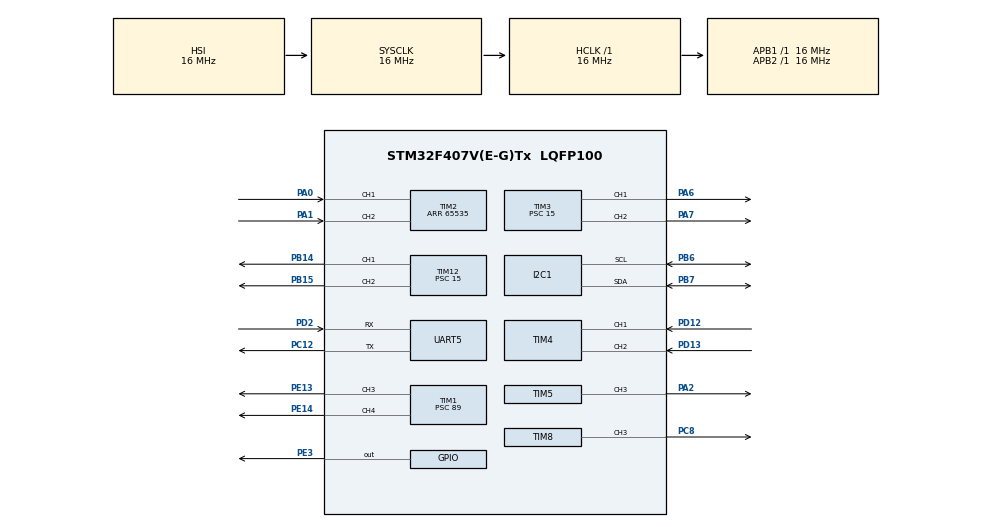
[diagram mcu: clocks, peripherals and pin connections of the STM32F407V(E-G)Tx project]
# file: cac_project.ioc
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Mcu.Family=STM32F4
Mcu.Name=STM32F407V(E-G)Tx
Mcu.Package=LQFP100
NVIC.FLASH_IRQn=true\:0\:0\:false\:false\:true\:true\:true\:true
NVIC.FPU_IRQn=true\:0\:0\:false\:false\:true\:true\:false\:true
NVIC.I2C1_ER_IRQn=true\:0\:0\:false\:false\:true\:true\:true\:true
NVIC.I2C1_EV_IRQn=true\:0\:0\:false\:false\:true\:true\:true\:true
NVIC.PVD_IRQn=true\:0\:0\:false\:false\:true\:true\:true\:true
NVIC.PriorityGroup=NVIC_PRIORITYGROUP_4
NVIC.RCC_IRQn=true\:0\:0\:false\:false\:true\:true\:false\:true
NVIC.TIM1_BRK_TIM9_IRQn=true\:0\:0\:false\:false\:true\:true\:true\:true
NVIC.TIM1_CC_IRQn=true\:0\:0\:false\:false\:true\:true\:true\:true
NVIC.TIM1_TRG_COM_TIM11_IRQn=true\:0\:0\:false\:false\:true\:true\:true\:true
NVIC.TIM1_UP_TIM10_IRQn=true\:0\:0\:false\:false\:true\:true\:true\:true
NVIC.TIM2_IRQn=true\:0\:0\:false\:false\:true\:true\:true\:true
NVIC.TIM3_IRQn=true\:0\:0\:false\:false\:true\:true\:true\:true
NVIC.TIM4_IRQn=true\:0\:0\:false\:false\:true\:true\:true\:true
NVIC.TIM5_IRQn=true\:0\:0\:false\:false\:true\:true\:true\:true
NVIC.TIM8_BRK_TIM12_IRQn=true\:0\:0\:false\:false\:true\:true\:true\:true
NVIC.TIM8_CC_IRQn=true\:0\:0\:false\:false\:true\:true\:true\:true
NVIC.TIM8_TRG_COM_TIM14_IRQn=true\:0\:0\:false\:false\:true\:true\:true\:true
NVIC.TIM8_UP_TIM13_IRQn=true\:0\:0\:false\:false\:true\:true\:true\:true
NVIC.UART5_IRQn=true\:0\:0\:false\:false\:true\:true\:true\:true
PA0-WKUP.Signal=S_TIM2_CH1_ETR
PA1.Signal=S_TIM2_CH2
PA13.Mode=Serial_Wire
PA13.Signal=SYS_JTMS-SWDIO
PA14.Mode=Serial_Wire
PA14.Signal=SYS_JTCK-SWCLK
PA2.Signal=S_TIM5_CH3
PA6.Signal=S_TIM3_CH1
PA7.Signal=S_TIM3_CH2
PB14.Signal=S_TIM12_CH1
PB15.Signal=S_TIM12_CH2
PB6.Mode=I2C
PB6.Signal=I2C1_SCL
PB7.Mode=I2C
PB7.Signal=I2C1_SDA
PC12.Mode=Asynchronous
PC12.Signal=UART5_TX
PC8.Signal=S_TIM8_CH3
PD12.Signal=S_TIM4_CH1
PD13.Signal=S_TIM4_CH2
PD2.Mode=Asynchronous
PD2.Signal=UART5_RX
PE13.Signal=S_TIM1_CH3
PE14.Signal=S_TIM1_CH4
PE3.Signal=GPIO_Output
ProjectManager.HeapSize=0x200
ProjectManager.StackSize=0x400
ProjectManager.TargetToolchain=STM32CubeIDE
RCC.AHBFreq_Value=16000000
RCC.APB1Freq_Value=16000000
RCC.APB2Freq_Value=16000000
RCC.CortexFreq_Value=16000000
RCC.HSE_VALUE=25000000
RCC.HSI_VALUE=16000000
RCC.LSE_VALUE=32768
RCC.SYSCLKFreq_VALUE=16000000
RCC.VCOOutputFreq_Value=192000000
SH.S_TIM12_CH1.0=TIM12_CH1,PWM Generation1 CH1
SH.S_TIM12_CH2.0=TIM12_CH2,PWM Generation2 CH2
SH.S_TIM1_CH3.0=TIM1_CH3,PWM Generation3 CH3
SH.S_TIM1_CH4.0=TIM1_CH4,PWM Generation4 CH4
SH.S_TIM2_CH1_ETR.0=TIM2_CH1,Encoder_Interface
SH.S_TIM2_CH2.0=TIM2_CH2,Encoder_Interface
SH.S_TIM3_CH1.0=TIM3_CH1,PWM Generation1 CH1
SH.S_TIM3_CH2.0=TIM3_CH2,PWM Generation2 CH2
SH.S_TIM4_CH1.0=TIM4_CH1,Encoder_Interface
SH.S_TIM4_CH2.0=TIM4_CH2,Encoder_Interface
SH.S_TIM5_CH3.0=TIM5_CH3,PWM Generation3 CH3
SH.S_TIM8_CH3.0=TIM8_CH3,PWM Generation3 CH3
TIM1.Channel-PWM\ Generation3\ CH3=TIM_CHANNEL_3
TIM1.Channel-PWM\ Generation4\ CH4=TIM_CHANNEL_4
TIM1.Period=999
TIM1.Prescaler=89
TIM12.Channel-PWM\ Generation1\ CH1=TIM_CHANNEL_1
TIM12.Channel-PWM\ Generation2\ CH2=TIM_CHANNEL_2
TIM12.Period=19999
TIM12.Prescaler=15
TIM2.EncoderMode=TIM_ENCODERMODE_TI12
TIM2.Period=65535
TIM3.Channel-PWM\ Generation1\ CH1=TIM_CHANNEL_1
TIM3.Channel-PWM\ Generation2\ CH2=TIM_CHANNEL_2
TIM3.Period=19999
TIM3.Prescaler=15
TIM4.EncoderMode=TIM_ENCODERMODE_TI12
TIM5.Channel-PWM\ Generation3\ CH3=TIM_CHANNEL_3
TIM5.Period=999
TIM5.Prescaler=89
TIM8.Channel-PWM\ Generation3\ CH3=TIM_CHANNEL_3
TIM8.Period=999
TIM8.Prescaler=89
UART5.VirtualMode=Asynchronous
VP_TIM12_VS_ClockSourceINT.Mode=Internal
VP_TIM1_VS_ClockSourceINT.Mode=Internal
VP_TIM3_VS_ClockSourceINT.Mode=Internal
VP_TIM5_VS_ClockSourceINT.Mode=Internal
VP_TIM8_VS_ClockSourceINT.Mode=Internal
board=custom

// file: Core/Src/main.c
/* USER CODE BEGIN Header */
/**
  ******************************************************************************
  * @file           : main.c
  * @brief          : Rover top level - peripheral init, module init, scheduling
  *
  * main.c only wires the modules together. Each feature lives in its own module:
  *
  *   encoder.c/.h   - wheel encoders (TIM2 / TIM4) and RPM calculation
  *   motor.c/.h     - motor PWM (TIM1 / TIM5 / TIM8) and direction
  *   servo.c/.h     - servos (TIM3 / TIM9)
  *   pid.c/.h       - closed-loop RPM control, target RPMs
  *   uart_comm.c/.h - UART5 commands from / RPM telemetry to the Raspberry Pi
  *
  * Also here: PE3 heartbeat LED and the MPU6050 polling loop.
  *
  * UART commands (115200 baud):
  *     VEL,left_RPM,right_RPM      S12:angle      S34:angle
  ******************************************************************************
  */
/* USER CODE END Header */
#include "main.h"

/* USER CODE BEGIN Includes */
#include <stdbool.h>
#include <stdint.h>

#include "encoder.h"
#include "motor.h"
#include "servo.h"
#include "pid.h"
#include "uart.h"
#include "mpu6050.h"
/* USER CODE END Includes */

/* USER CODE BEGIN PD */
#define LED_PORT                 GPIOE
#define LED_PIN                  GPIO_PIN_3
#define LED_TOGGLE_PERIOD_MS     500U
#define IMU_SEND_PERIOD_MS       100U
#define IMU_SAMPLE_PERIOD_MS     10U
#define IMU_MAX_READ_FAILS       5U      /* consecutive failed reads before the IMU is switched off */
#define IMU_RETRY_PERIOD_MS      0U      /* 0 = never retry; otherwise retry init every N ms        */
                                         /* (each retry can block ~300 ms if the IMU is absent)     */
/* USER CODE END PD */

I2C_HandleTypeDef hi2c1;

TIM_HandleTypeDef htim1;
TIM_HandleTypeDef htim2;
TIM_HandleTypeDef htim3;
TIM_HandleTypeDef htim4;
TIM_HandleTypeDef htim5;
TIM_HandleTypeDef htim8;
TIM_HandleTypeDef htim12;

UART_HandleTypeDef huart5;

/* USER CODE BEGIN PV */
/* Timestamps of the periodic tasks (HAL_GetTick() values, ms) */
static uint32_t last_led_toggle     = 0;
static uint32_t last_encoder_update = 0;
static uint32_t last_pid_update     = 0;
static uint32_t last_imu_send       = 0;
static uint32_t last_imu_sample     = 0;
static uint32_t last_imu_retry      = 0;

/* =========================================================
 * MPU6050 STATE
 * ========================================================= */

/* IMU health */
static volatile bool imu_ok = false;
static volatile uint8_t imu_fail_count = 0;
static volatile HAL_StatusTypeDef imu_init_status;
static volatile HAL_StatusTypeDef imu_who_status;
static volatile uint8_t imu_who_am_i = 0;
static MPU6050_Data imu_latest;

static volatile float ax;
static volatile float ay;
static volatile float az;
static volatile float gx;
static volatile float gy;
static volatile float gz;

/* USER CODE END PV */

void SystemClock_Config(void);
static void MX_GPIO_Init(void);
static void MX_I2C1_Init(void);
static void MX_TIM2_Init(void);
static void MX_TIM4_Init(void);
static void MX_UART5_Init(void);
static void MX_TIM1_Init(void);
static void MX_TIM3_Init(void);
static void MX_TIM5_Init(void);
static void MX_TIM8_Init(void);
static void MX_TIM12_Init(void);
/* USER CODE BEGIN PFP */
static bool Period_Elapsed(uint32_t now, uint32_t *last_ms, uint32_t period_ms);
static void IMU_Poll(uint32_t now);
/* USER CODE END PFP */

int main(void)
{

  /* MCU Configuration--------------------------------------------------------*/

  /* Reset of all peripherals, Initializes the Flash interface and the Systick. */
  HAL_Init();

  /* Configure the system clock */
  SystemClock_Config();

  /* Initialize all configured peripherals */
  MX_GPIO_Init();
  MX_I2C1_Init();
  MX_TIM2_Init();
  MX_TIM4_Init();
  MX_UART5_Init();
  MX_TIM1_Init();
  MX_TIM3_Init();
  MX_TIM5_Init();
  MX_TIM8_Init();
  MX_TIM12_Init();
  /* USER CODE BEGIN 2 */

  Encoder_Init(&htim2, &htim4);
  Motor_Init(&htim1, &htim5, &htim8);
  Servo_Init(&htim3, &htim12);
  PID_Init();

  if (UART_Comm_Init(&huart5) != HAL_OK)
  {
      Motor_Set_Speeds(0, 0);
      Error_Handler();
  }

  imu_init_status = mpu6050_init();

  imu_fail_count = 0;

  if (imu_init_status == HAL_OK)
  {
      imu_who_status = mpu6050_who_am_i((uint8_t *)&imu_who_am_i);

      if ((imu_who_status == HAL_OK) &&
          (imu_who_am_i == 0x68))
      {
          imu_ok = true;
      }
      else
      {
          imu_ok = false;
      }
  }
  else
  {
      imu_ok = false;
  }

  last_led_toggle     = HAL_GetTick();
  last_encoder_update = HAL_GetTick();
  last_pid_update     = HAL_GetTick();
  last_imu_send       = HAL_GetTick();
  last_imu_sample     = HAL_GetTick();
  last_imu_retry      = HAL_GetTick();

  /* USER CODE END 2 */

  /* Infinite loop */
  /* USER CODE BEGIN WHILE */
  while (1)
  {
      uint32_t now = HAL_GetTick();

      /* PE3 heartbeat*/
      if (Period_Elapsed(now, &last_led_toggle, LED_TOGGLE_PERIOD_MS))
      {
          HAL_GPIO_TogglePin(LED_PORT, LED_PIN);
      }

      /* Encoder RPM + telemetry to the Raspberry Pi */
      if (Period_Elapsed(now, &last_encoder_update, ENCODER_SAMPLE_TIME_MS))
      {
          Encoder_Update();
          UART_Comm_Send_RPM(Encoder_Get_Left_RPM(), Encoder_Get_Right_RPM());
      }

      /* IMU telemetry to the Raspberry Pi (only while the IMU is healthy) */
      if (Period_Elapsed(now, &last_imu_send, IMU_SEND_PERIOD_MS) && imu_ok)
      {
          UART_Comm_Send_IMU(imu_latest.x_acc,  imu_latest.y_acc,  imu_latest.z_acc,
                             imu_latest.x_gyro, imu_latest.y_gyro, imu_latest.z_gyro);
      }

      /* Stop the rover if the Pi stopped sending VEL keep-alives */
      UART_Comm_Check_Timeout();

      /* Closed-loop motor control (must run after Encoder_Update) */
      if (Period_Elapsed(now, &last_pid_update, PID_SAMPLE_TIME_MS))
      {
          PID_Update();
      }

      /* MPU6050: sampled on every pass of the loop while healthy */
      if (Period_Elapsed(now, &last_imu_sample, IMU_SAMPLE_PERIOD_MS))
      {
          IMU_Poll(now);
      }
    /* USER CODE END WHILE */

  }
}

void SystemClock_Config(void)
{
  RCC_OscInitTypeDef RCC_OscInitStruct = {0};
  RCC_ClkInitTypeDef RCC_ClkInitStruct = {0};

  /** Configure the main internal regulator output voltage
  */
  __HAL_RCC_PWR_CLK_ENABLE();
  __HAL_PWR_VOLTAGESCALING_CONFIG(PWR_REGULATOR_VOLTAGE_SCALE1);

  /** Initializes the RCC Oscillators according to the specified parameters
  * in the RCC_OscInitTypeDef structure.
  */
  RCC_OscInitStruct.OscillatorType = RCC_OSCILLATORTYPE_HSI;
  RCC_OscInitStruct.HSIState = RCC_HSI_ON;
  RCC_OscInitStruct.HSICalibrationValue = RCC_HSICALIBRATION_DEFAULT;
  RCC_OscInitStruct.PLL.PLLState = RCC_PLL_NONE;
  if (HAL_RCC_OscConfig(&RCC_OscInitStruct) != HAL_OK)
  {
    Error_Handler();
  }

  /** Initializes the CPU, AHB and APB buses clocks
  */
  RCC_ClkInitStruct.ClockType = RCC_CLOCKTYPE_HCLK|RCC_CLOCKTYPE_SYSCLK
                              |RCC_CLOCKTYPE_PCLK1|RCC_CLOCKTYPE_PCLK2;
  RCC_ClkInitStruct.SYSCLKSource = RCC_SYSCLKSOURCE_HSI;
  RCC_ClkInitStruct.AHBCLKDivider = RCC_SYSCLK_DIV1;
  RCC_ClkInitStruct.APB1CLKDivider = RCC_HCLK_DIV1;
  RCC_ClkInitStruct.APB2CLKDivider = RCC_HCLK_DIV1;

  if (HAL_RCC_ClockConfig(&RCC_ClkInitStruct, FLASH_LATENCY_0) != HAL_OK)
  {
    Error_Handler();
  }
}

static void MX_I2C1_Init(void)
{

  hi2c1.Instance = I2C1;
  hi2c1.Init.ClockSpeed = 100000;
  hi2c1.Init.DutyCycle = I2C_DUTYCYCLE_2;
  hi2c1.Init.OwnAddress1 = 0;
  hi2c1.Init.AddressingMode = I2C_ADDRESSINGMODE_7BIT;
  hi2c1.Init.DualAddressMode = I2C_DUALADDRESS_DISABLE;
  hi2c1.Init.OwnAddress2 = 0;
  hi2c1.Init.GeneralCallMode = I2C_GENERALCALL_DISABLE;
  hi2c1.Init.NoStretchMode = I2C_NOSTRETCH_DISABLE;
  if (HAL_I2C_Init(&hi2c1) != HAL_OK)
  {
    Error_Handler();
  }

}

static void MX_TIM1_Init(void)
{

  TIM_ClockConfigTypeDef sClockSourceConfig = {0};
  TIM_MasterConfigTypeDef sMasterConfig = {0};
  TIM_OC_InitTypeDef sConfigOC = {0};
  TIM_BreakDeadTimeConfigTypeDef sBreakDeadTimeConfig = {0};

  htim1.Instance = TIM1;
  htim1.Init.Prescaler = 89;
  htim1.Init.CounterMode = TIM_COUNTERMODE_UP;
  htim1.Init.Period = 999;
  htim1.Init.ClockDivision = TIM_CLOCKDIVISION_DIV1;
  htim1.Init.RepetitionCounter = 0;
  htim1.Init.AutoReloadPreload = TIM_AUTORELOAD_PRELOAD_DISABLE;
  if (HAL_TIM_Base_Init(&htim1) != HAL_OK)
  {
    Error_Handler();
  }
  sClockSourceConfig.ClockSource = TIM_CLOCKSOURCE_INTERNAL;
  if (HAL_TIM_ConfigClockSource(&htim1, &sClockSourceConfig) != HAL_OK)
  {
    Error_Handler();
  }
  if (HAL_TIM_PWM_Init(&htim1) != HAL_OK)
  {
    Error_Handler();
  }
  sMasterConfig.MasterOutputTrigger = TIM_TRGO_RESET;
  sMasterConfig.MasterSlaveMode = TIM_MASTERSLAVEMODE_DISABLE;
  if (HAL_TIMEx_MasterConfigSynchronization(&htim1, &sMasterConfig) != HAL_OK)
  {
    Error_Handler();
  }
  sConfigOC.OCMode = TIM_OCMODE_PWM1;
  sConfigOC.Pulse = 0;
  sConfigOC.OCPolarity = TIM_OCPOLARITY_HIGH;
  sConfigOC.OCNPolarity = TIM_OCNPOLARITY_HIGH;
  sConfigOC.OCFastMode = TIM_OCFAST_DISABLE;
  sConfigOC.OCIdleState = TIM_OCIDLESTATE_RESET;
  sConfigOC.OCNIdleState = TIM_OCNIDLESTATE_RESET;
  if (HAL_TIM_PWM_ConfigChannel(&htim1, &sConfigOC, TIM_CHANNEL_3) != HAL_OK)
  {
    Error_Handler();
  }
  if (HAL_TIM_PWM_ConfigChannel(&htim1, &sConfigOC, TIM_CHANNEL_4) != HAL_OK)
  {
    Error_Handler();
  }
  sBreakDeadTimeConfig.OffStateRunMode = TIM_OSSR_DISABLE;
  sBreakDeadTimeConfig.OffStateIDLEMode = TIM_OSSI_DISABLE;
  sBreakDeadTimeConfig.LockLevel = TIM_LOCKLEVEL_OFF;
  sBreakDeadTimeConfig.DeadTime = 0;
  sBreakDeadTimeConfig.BreakState = TIM_BREAK_DISABLE;
  sBreakDeadTimeConfig.BreakPolarity = TIM_BREAKPOLARITY_HIGH;
  sBreakDeadTimeConfig.AutomaticOutput = TIM_AUTOMATICOUTPUT_DISABLE;
  if (HAL_TIMEx_ConfigBreakDeadTime(&htim1, &sBreakDeadTimeConfig) != HAL_OK)
  {
    Error_Handler();
  }
  HAL_TIM_MspPostInit(&htim1);

}

static void MX_TIM2_Init(void)
{

  TIM_Encoder_InitTypeDef sConfig = {0};
  TIM_MasterConfigTypeDef sMasterConfig = {0};

  htim2.Instance = TIM2;
  htim2.Init.Prescaler = 0;
  htim2.Init.CounterMode = TIM_COUNTERMODE_UP;
  htim2.Init.Period = 65535;
  htim2.Init.ClockDivision = TIM_CLOCKDIVISION_DIV1;
  htim2.Init.AutoReloadPreload = TIM_AUTORELOAD_PRELOAD_DISABLE;
  sConfig.EncoderMode = TIM_ENCODERMODE_TI12;
  sConfig.IC1Polarity = TIM_ICPOLARITY_RISING;
  sConfig.IC1Selection = TIM_ICSELECTION_DIRECTTI;
  sConfig.IC1Prescaler = TIM_ICPSC_DIV1;
  sConfig.IC1Filter = 0;
  sConfig.IC2Polarity = TIM_ICPOLARITY_RISING;
  sConfig.IC2Selection = TIM_ICSELECTION_DIRECTTI;
  sConfig.IC2Prescaler = TIM_ICPSC_DIV1;
  sConfig.IC2Filter = 0;
  if (HAL_TIM_Encoder_Init(&htim2, &sConfig) != HAL_OK)
  {
    Error_Handler();
  }
  sMasterConfig.MasterOutputTrigger = TIM_TRGO_RESET;
  sMasterConfig.MasterSlaveMode = TIM_MASTERSLAVEMODE_DISABLE;
  if (HAL_TIMEx_MasterConfigSynchronization(&htim2, &sMasterConfig) != HAL_OK)
  {
    Error_Handler();
  }

}

static void MX_TIM3_Init(void)
{

  TIM_ClockConfigTypeDef sClockSourceConfig = {0};
  TIM_MasterConfigTypeDef sMasterConfig = {0};
  TIM_OC_InitTypeDef sConfigOC = {0};

  htim3.Instance = TIM3;
  htim3.Init.Prescaler = 15;
  htim3.Init.CounterMode = TIM_COUNTERMODE_UP;
  htim3.Init.Period = 19999;
  htim3.Init.ClockDivision = TIM_CLOCKDIVISION_DIV1;
  htim3.Init.AutoReloadPreload = TIM_AUTORELOAD_PRELOAD_DISABLE;
  if (HAL_TIM_Base_Init(&htim3) != HAL_OK)
  {
    Error_Handler();
  }
  sClockSourceConfig.ClockSource = TIM_CLOCKSOURCE_INTERNAL;
  if (HAL_TIM_ConfigClockSource(&htim3, &sClockSourceConfig) != HAL_OK)
  {
    Error_Handler();
  }
  if (HAL_TIM_PWM_Init(&htim3) != HAL_OK)
  {
    Error_Handler();
  }
  sMasterConfig.MasterOutputTrigger = TIM_TRGO_RESET;
  sMasterConfig.MasterSlaveMode = TIM_MASTERSLAVEMODE_DISABLE;
  if (HAL_TIMEx_MasterConfigSynchronization(&htim3, &sMasterConfig) != HAL_OK)
  {
    Error_Handler();
  }
  sConfigOC.OCMode = TIM_OCMODE_PWM1;
  sConfigOC.Pulse = 0;
  sConfigOC.OCPolarity = TIM_OCPOLARITY_HIGH;
  sConfigOC.OCFastMode = TIM_OCFAST_DISABLE;
  if (HAL_TIM_PWM_ConfigChannel(&htim3, &sConfigOC, TIM_CHANNEL_1) != HAL_OK)
  {
    Error_Handler();
  }
  if (HAL_TIM_PWM_ConfigChannel(&htim3, &sConfigOC, TIM_CHANNEL_2) != HAL_OK)
  {
    Error_Handler();
  }
  HAL_TIM_MspPostInit(&htim3);

}

static void MX_TIM4_Init(void)
{

  TIM_Encoder_InitTypeDef sConfig = {0};
  TIM_MasterConfigTypeDef sMasterConfig = {0};

  htim4.Instance = TIM4;
  htim4.Init.Prescaler = 0;
  htim4.Init.CounterMode = TIM_COUNTERMODE_UP;
  htim4.Init.Period = 65535;
  htim4.Init.ClockDivision = TIM_CLOCKDIVISION_DIV1;
  htim4.Init.AutoReloadPreload = TIM_AUTORELOAD_PRELOAD_DISABLE;
  sConfig.EncoderMode = TIM_ENCODERMODE_TI12;
  sConfig.IC1Polarity = TIM_ICPOLARITY_RISING;
  sConfig.IC1Selection = TIM_ICSELECTION_DIRECTTI;
  sConfig.IC1Prescaler = TIM_ICPSC_DIV1;
  sConfig.IC1Filter = 0;
  sConfig.IC2Polarity = TIM_ICPOLARITY_RISING;
  sConfig.IC2Selection = TIM_ICSELECTION_DIRECTTI;
  sConfig.IC2Prescaler = TIM_ICPSC_DIV1;
  sConfig.IC2Filter = 0;
  if (HAL_TIM_Encoder_Init(&htim4, &sConfig) != HAL_OK)
  {
    Error_Handler();
  }
  sMasterConfig.MasterOutputTrigger = TIM_TRGO_RESET;
  sMasterConfig.MasterSlaveMode = TIM_MASTERSLAVEMODE_DISABLE;
  if (HAL_TIMEx_MasterConfigSynchronization(&htim4, &sMasterConfig) != HAL_OK)
  {
    Error_Handler();
  }

}

static void MX_TIM5_Init(void)
{

  TIM_ClockConfigTypeDef sClockSourceConfig = {0};
  TIM_MasterConfigTypeDef sMasterConfig = {0};
  TIM_OC_InitTypeDef sConfigOC = {0};

  htim5.Instance = TIM5;
  htim5.Init.Prescaler = 89;
  htim5.Init.CounterMode = TIM_COUNTERMODE_UP;
  htim5.Init.Period = 999;
  htim5.Init.ClockDivision = TIM_CLOCKDIVISION_DIV1;
  htim5.Init.AutoReloadPreload = TIM_AUTORELOAD_PRELOAD_DISABLE;
  if (HAL_TIM_Base_Init(&htim5) != HAL_OK)
  {
    Error_Handler();
  }
  sClockSourceConfig.ClockSource = TIM_CLOCKSOURCE_INTERNAL;
  if (HAL_TIM_ConfigClockSource(&htim5, &sClockSourceConfig) != HAL_OK)
  {
    Error_Handler();
  }
  if (HAL_TIM_PWM_Init(&htim5) != HAL_OK)
  {
    Error_Handler();
  }
  sMasterConfig.MasterOutputTrigger = TIM_TRGO_RESET;
  sMasterConfig.MasterSlaveMode = TIM_MASTERSLAVEMODE_DISABLE;
  if (HAL_TIMEx_MasterConfigSynchronization(&htim5, &sMasterConfig) != HAL_OK)
  {
    Error_Handler();
  }
  sConfigOC.OCMode = TIM_OCMODE_PWM1;
  sConfigOC.Pulse = 0;
  sConfigOC.OCPolarity = TIM_OCPOLARITY_HIGH;
  sConfigOC.OCFastMode = TIM_OCFAST_DISABLE;
  if (HAL_TIM_PWM_ConfigChannel(&htim5, &sConfigOC, TIM_CHANNEL_3) != HAL_OK)
  {
    Error_Handler();
  }
  HAL_TIM_MspPostInit(&htim5);

}

static void MX_TIM8_Init(void)
{

  TIM_ClockConfigTypeDef sClockSourceConfig = {0};
  TIM_MasterConfigTypeDef sMasterConfig = {0};
  TIM_OC_InitTypeDef sConfigOC = {0};
  TIM_BreakDeadTimeConfigTypeDef sBreakDeadTimeConfig = {0};

  htim8.Instance = TIM8;
  htim8.Init.Prescaler = 89;
  htim8.Init.CounterMode = TIM_COUNTERMODE_UP;
  htim8.Init.Period = 999;
  htim8.Init.ClockDivision = TIM_CLOCKDIVISION_DIV1;
  htim8.Init.RepetitionCounter = 0;
  htim8.Init.AutoReloadPreload = TIM_AUTORELOAD_PRELOAD_DISABLE;
  if (HAL_TIM_Base_Init(&htim8) != HAL_OK)
  {
    Error_Handler();
  }
  sClockSourceConfig.ClockSource = TIM_CLOCKSOURCE_INTERNAL;
  if (HAL_TIM_ConfigClockSource(&htim8, &sClockSourceConfig) != HAL_OK)
  {
    Error_Handler();
  }
  if (HAL_TIM_PWM_Init(&htim8) != HAL_OK)
  {
    Error_Handler();
  }
  sMasterConfig.MasterOutputTrigger = TIM_TRGO_RESET;
  sMasterConfig.MasterSlaveMode = TIM_MASTERSLAVEMODE_DISABLE;
  if (HAL_TIMEx_MasterConfigSynchronization(&htim8, &sMasterConfig) != HAL_OK)
  {
    Error_Handler();
  }
  sConfigOC.OCMode = TIM_OCMODE_PWM1;
  sConfigOC.Pulse = 0;
  sConfigOC.OCPolarity = TIM_OCPOLARITY_HIGH;
  sConfigOC.OCNPolarity = TIM_OCNPOLARITY_HIGH;
  sConfigOC.OCFastMode = TIM_OCFAST_DISABLE;
  sConfigOC.OCIdleState = TIM_OCIDLESTATE_RESET;
  sConfigOC.OCNIdleState = TIM_OCNIDLESTATE_RESET;
  if (HAL_TIM_PWM_ConfigChannel(&htim8, &sConfigOC, TIM_CHANNEL_3) != HAL_OK)
  {
    Error_Handler();
  }
  sBreakDeadTimeConfig.OffStateRunMode = TIM_OSSR_DISABLE;
  sBreakDeadTimeConfig.OffStateIDLEMode = TIM_OSSI_DISABLE;
  sBreakDeadTimeConfig.LockLevel = TIM_LOCKLEVEL_OFF;
  sBreakDeadTimeConfig.DeadTime = 0;
  sBreakDeadTimeConfig.BreakState = TIM_BREAK_DISABLE;
  sBreakDeadTimeConfig.BreakPolarity = TIM_BREAKPOLARITY_HIGH;
  sBreakDeadTimeConfig.AutomaticOutput = TIM_AUTOMATICOUTPUT_DISABLE;
  if (HAL_TIMEx_ConfigBreakDeadTime(&htim8, &sBreakDeadTimeConfig) != HAL_OK)
  {
    Error_Handler();
  }
  HAL_TIM_MspPostInit(&htim8);

}

static void MX_TIM12_Init(void)
{

  TIM_ClockConfigTypeDef sClockSourceConfig = {0};
  TIM_OC_InitTypeDef sConfigOC = {0};

  htim12.Instance = TIM12;
  htim12.Init.Prescaler = 15;
  htim12.Init.CounterMode = TIM_COUNTERMODE_UP;
  htim12.Init.Period = 19999;
  htim12.Init.ClockDivision = TIM_CLOCKDIVISION_DIV1;
  htim12.Init.AutoReloadPreload = TIM_AUTORELOAD_PRELOAD_DISABLE;
  if (HAL_TIM_Base_Init(&htim12) != HAL_OK)
  {
    Error_Handler();
  }
  sClockSourceConfig.ClockSource = TIM_CLOCKSOURCE_INTERNAL;
  if (HAL_TIM_ConfigClockSource(&htim12, &sClockSourceConfig) != HAL_OK)
  {
    Error_Handler();
  }
  if (HAL_TIM_PWM_Init(&htim12) != HAL_OK)
  {
    Error_Handler();
  }
  sConfigOC.OCMode = TIM_OCMODE_PWM1;
  sConfigOC.Pulse = 0;
  sConfigOC.OCPolarity = TIM_OCPOLARITY_HIGH;
  sConfigOC.OCFastMode = TIM_OCFAST_DISABLE;
  if (HAL_TIM_PWM_ConfigChannel(&htim12, &sConfigOC, TIM_CHANNEL_1) != HAL_OK)
  {
    Error_Handler();
  }
  if (HAL_TIM_PWM_ConfigChannel(&htim12, &sConfigOC, TIM_CHANNEL_2) != HAL_OK)
  {
    Error_Handler();
  }
  HAL_TIM_MspPostInit(&htim12);

}

static void MX_UART5_Init(void)
{

  huart5.Instance = UART5;
  huart5.Init.BaudRate = 115200;
  huart5.Init.WordLength = UART_WORDLENGTH_8B;
  huart5.Init.StopBits = UART_STOPBITS_1;
  huart5.Init.Parity = UART_PARITY_NONE;
  huart5.Init.Mode = UART_MODE_TX_RX;
  huart5.Init.HwFlowCtl = UART_HWCONTROL_NONE;
  huart5.Init.OverSampling = UART_OVERSAMPLING_16;
  if (HAL_UART_Init(&huart5) != HAL_OK)
  {
    Error_Handler();
  }

}

static void MX_GPIO_Init(void)
{
  GPIO_InitTypeDef GPIO_InitStruct = {0};

  /* GPIO Ports Clock Enable */
  __HAL_RCC_GPIOE_CLK_ENABLE();
  __HAL_RCC_GPIOA_CLK_ENABLE();
  __HAL_RCC_GPIOB_CLK_ENABLE();
  __HAL_RCC_GPIOD_CLK_ENABLE();
  __HAL_RCC_GPIOC_CLK_ENABLE();

  /*Configure GPIO pin Output Level */
  HAL_GPIO_WritePin(GPIOE, GPIO_PIN_3, GPIO_PIN_RESET);

  /*Configure GPIO pin : PE3 */
  GPIO_InitStruct.Pin = GPIO_PIN_3;
  GPIO_InitStruct.Mode = GPIO_MODE_OUTPUT_PP;
  GPIO_InitStruct.Pull = GPIO_NOPULL;
  GPIO_InitStruct.Speed = GPIO_SPEED_FREQ_LOW;
  HAL_GPIO_Init(GPIOE, &GPIO_InitStruct);

}

/* USER CODE BEGIN 4 */

/*
 * Returns true (and restarts the period) when period_ms has passed since
 * *last_ms. Unsigned subtraction keeps this correct when HAL_GetTick() wraps.
 */
static bool Period_Elapsed(uint32_t now, uint32_t *last_ms, uint32_t period_ms)
{
    if ((uint32_t)(now - *last_ms) >= period_ms)
    {
        *last_ms = now;
        return true;
    }
    return false;
}

static void IMU_Poll(uint32_t now)
{
    if (!imu_ok)
    {
        if ((IMU_RETRY_PERIOD_MS > 0U) &&
            Period_Elapsed(now,
                           &last_imu_retry,
                           IMU_RETRY_PERIOD_MS))
        {
            imu_init_status = mpu6050_init();

            if (imu_init_status == HAL_OK)
            {
                imu_who_status =
                    mpu6050_who_am_i(
                        (uint8_t *)&imu_who_am_i
                    );

                if ((imu_who_status == HAL_OK) &&
                    (imu_who_am_i == 0x68))
                {
                    imu_ok = true;
                    imu_fail_count = 0;
                }
            }
        }

        return;
    }

    MPU6050_Data sample;

    HAL_StatusTypeDef ret;

    ret = mpu6050_read(&sample);

    if (ret == HAL_OK)
    {
        imu_fail_count = 0;
        imu_latest = sample;
        ax = (float)sample.x_acc;
        ay = (float)sample.y_acc;
        az = (float)sample.z_acc;

        gx = (float)sample.x_gyro;
        gy = (float)sample.y_gyro;
        gz = (float)sample.z_gyro;
    }

    else
    {
        imu_fail_count++;
        if (imu_fail_count >= IMU_MAX_READ_FAILS)
        {
            imu_ok = false;
        }
    }
}

/* USER CODE END 4 */

void Error_Handler(void)
{
    __disable_irq();
    while (1)
    {
    }
}
#ifdef USE_FULL_ASSERT
/**
  * @brief  Reports the name of the source file and the source line number
  *         where the assert_param error has occurred.
  * @param  file: pointer to the source file name
  * @param  line: assert_param error line source number
  * @retval None
  */
void assert_failed(uint8_t *file, uint32_t line)
{
  /* USER CODE BEGIN 6 */
    /*
     * Add implementation here if required.
     */
  /* USER CODE END 6 */
}
#endif /* USE_FULL_ASSERT */
